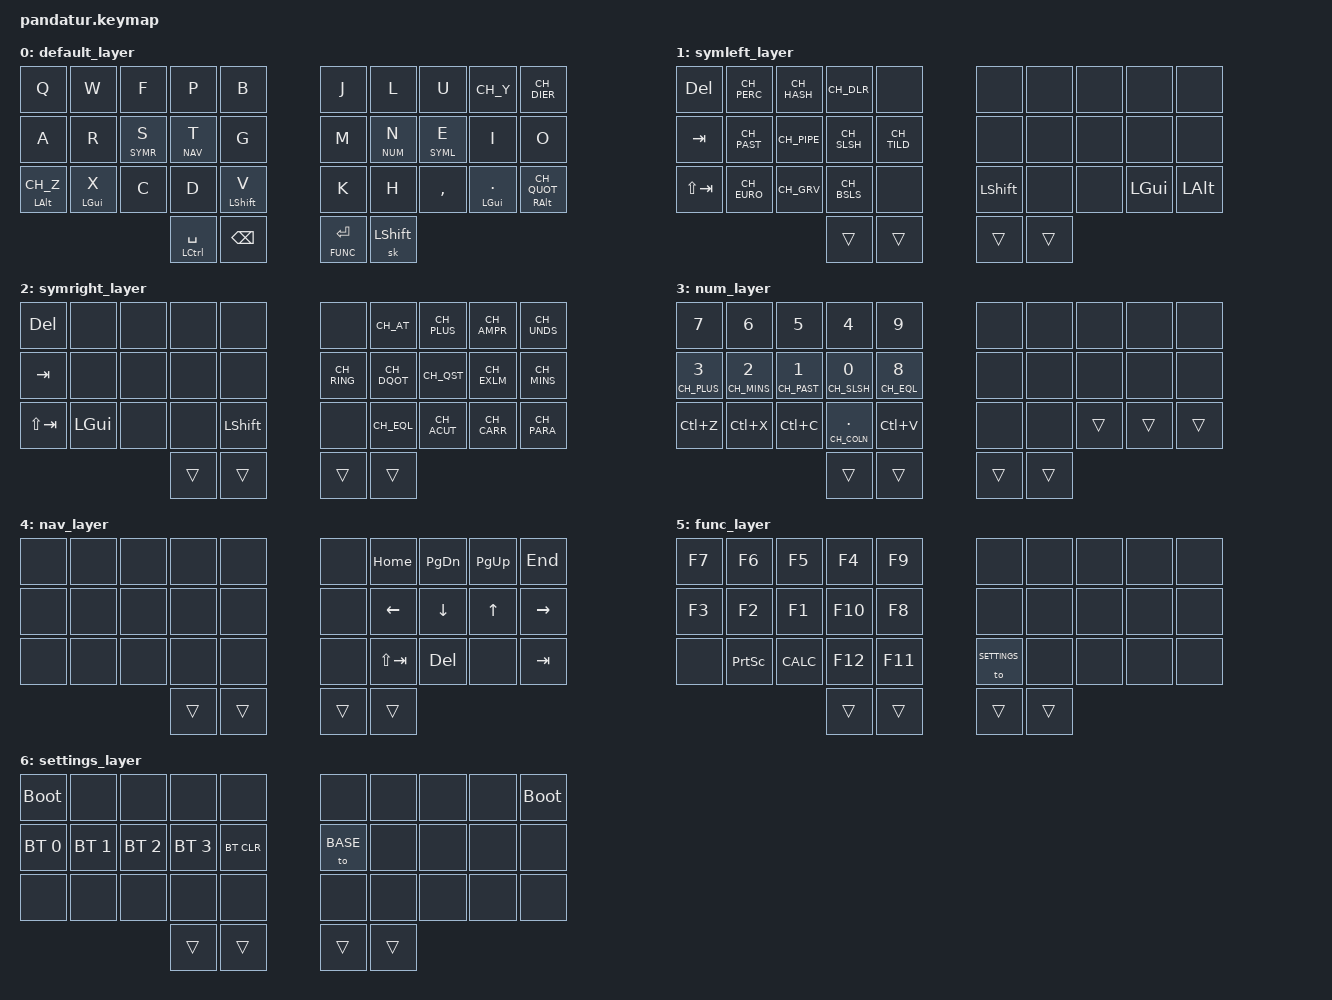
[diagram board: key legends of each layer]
/*
 * Copyright (c) 2020 The ZMK Contributors
 *
 * SPDX-License-Identifier: MIT
 */

#include <behaviors.dtsi>
#include <dt-bindings/zmk/keys.h>
#include <dt-bindings/zmk/bt.h>
// #include <dt-bindings/zmk/mouse.h>
#include "keymap_ch_de.h"

// Layer definitions
    #define BASE 0
    #define SYML 1
    #define SYMR 2
    #define NUM 3
	#define NAV 4
	// #define MOUSE 4
    #define FUNC 5
    #define SETTINGS 6
// -----------------

// Helper Aliases for formatting
#define ____ &trans
#define xxxx &none

&mt {
	flavor = "balanced";
	tapping_term_ms = <175>;
};

&lt {
	flavor = "balanced";
	tapping_term_ms = <175>;
};

&sk {
	release-after-ms = <500>;
	quick-release;
};

/ {
	combos {
		compatible = "zmk,combos";
		combo_esc {
			timeout-ms = <75>;
			key-positions = <0 10>;
			bindings = <&kp ESC>;
		};
		combo_lprn {
			timeout-ms = <50>;
			key-positions = <2 12>;
			bindings = <&kp CH_LPRN>;
		};
		combo_rprn {
			timeout-ms = <50>;
			key-positions = <7 17>;
			bindings = <&kp CH_RPRN>;
		};
		combo_lbrc {
			timeout-ms = <50>;
			key-positions = <3 13>;
			bindings = <&kp CH_LBRC>;
		};
		combo_rbrc {
			timeout-ms = <50>;
			key-positions = <6 16>;
			bindings = <&kp CH_RBRC>;
		};
		combo_lcbr {
			timeout-ms = <50>;
			key-positions = <1 11>;
			bindings = <&kp CH_LCBR>;
		};
		combo_rcbr {
			timeout-ms = <50>;
			key-positions = <8 18>;
			bindings = <&kp CH_RCBR>;
		};
		combo_more {
			timeout-ms = <75>;
			key-positions = <5 15>;
			bindings = <&kp CH_MORE>;
		};
		combo_less {
			timeout-ms = <75>;
			key-positions = <4 14>;
			bindings = <&kp CH_LESS>;
		};
		combo_scln {
			timeout-ms = <75>;
			key-positions = <17 27>;
			bindings = <&kp CH_SCLN>;
		};
		combo_dqot {
			timeout-ms = <75>;
			key-positions = <18 28>;
			bindings = <&kp CH_DQOT>;
		};
		combo_coln {
			timeout-ms = <75>;
			key-positions = <19 29>;
			bindings = <&kp CH_COLN>;
		};
		combo_qbspc {
			timeout-ms = <100>;
			key-positions = <30 31>;
			bindings = <&kp LC(BSPC)>;
		};
	};
	behaviors {	
		rp: right_hand_positional_hold_layer {
			compatible = "zmk,behavior-hold-tap";
			label = "RIGHT_POSITIONAL_HOLD_LAYER";
			#binding-cells = <2>;
			flavor = "balanced";
			tapping-term-ms = <150>;
			quick-tap-ms = <150>;
			bindings = <&mo>, <&kp>;
			hold-trigger-key-positions = <0 1 2 3 4 5 6 7 8 9 10 11 12 13 14 15 20 21 22 23 24 25 26 27 28 29>;
		};
		lp: left_hand_positional_hold_layer {
			compatible = "zmk,behavior-hold-tap";
			label = "LEFT_POSITIONAL_HOLD_LAYER";
			#binding-cells = <2>;
			flavor = "balanced";
			tapping-term-ms = <150>;
			quick-tap-ms = <150>;
			bindings = <&mo>, <&kp>;
			hold-trigger-key-positions = <0 1 2 3 4 5 6 7 8 9 14 15 16 17 18 19 20 21 22 23 24 25 26 27 28 29>;
		};
	};
    keymap {
            compatible = "zmk,keymap";

        // Base alpha layer
       		default_layer {
		bindings = <
		&kp Q          &kp W       &kp F       &kp P      &kp B              &kp J  &kp L      &kp U       &kp CH_Y      &kp CH_DIER 
		&kp A          &kp R       &lp SYMR S  &lp NAV T  &kp G              &kp M  &rp NUM N  &rp SYML E  &kp I         &kp O
		&mt LALT CH_Z  &mt LGUI X  &kp C       &kp D      &mt LSHFT V        &kp K  &kp H       &kp COMMA   &mt LGUI DOT  &mt RALT CH_QUOT
                                         &mt LCTRL SPACE  &kp BSPC           &lt FUNC ENTER  &sk LSHFT
		>;
		};

        // Left Symbol Layer
       		symleft_layer {
		bindings = <
		&kp DEL      &kp CH_PERC  &kp CH_HASH  &kp CH_DLR   xxxx           xxxx       xxxx  xxxx  xxxx       xxxx
		&kp TAB      &kp CH_PAST  &kp CH_PIPE  &kp CH_SLSH  &kp CH_TILD    xxxx       xxxx  xxxx  xxxx       xxxx
		&kp LS(TAB)  &kp CH_EURO  &kp CH_GRV   &kp CH_BSLS  xxxx           &kp LSHFT  xxxx  xxxx  &kp LGUI  &kp LALT
					                                  ____  ____           ____  ____
		>;
		};

        // Right Symbol Layer
		    symright_layer {
		bindings = <
		&kp DEL      xxxx      xxxx  xxxx  xxxx                xxxx  &kp CH_AT    &kp CH_PLUS  &kp CH_AMPR  &kp CH_UNDS
		&kp TAB      xxxx      xxxx  xxxx  xxxx         &kp CH_RING  &kp CH_DQOT  &kp CH_QST   &kp CH_EXLM  &kp CH_MINS
		&kp LS(TAB)  &kp LGUI  xxxx  xxxx  &kp LSHFT           xxxx  &kp CH_EQL   &kp CH_ACUT  &kp CH_CARR  &kp CH_PARA
		                             ____  ____                ____  ____
		>;
		};

        // Numbers (Left Hand)
       		num_layer {
		bindings = <
		&kp N7          &kp N6          &kp N5          &kp N4           &kp N9           xxxx  xxxx  xxxx  xxxx  xxxx
		&mt CH_PLUS N3  &mt CH_MINS N2  &mt CH_PAST N1  &mt CH_SLSH N0   &mt CH_EQL N8    xxxx  xxxx  xxxx  xxxx  xxxx
		&kp LC(Z)       &kp LC(X)       &kp LC(C)       &mt CH_COLN DOT  &kp LC(V)        xxxx  xxxx  ____  ____  ____
          				                                           ____  ____             ____  ____
		>;
		};
        // Navigation (Right Hand)
       		nav_layer {
		bindings = <
		xxxx  xxxx  xxxx  xxxx  xxxx    xxxx  &kp HOME     &kp PG_DN  &kp PG_UP  &kp END
		xxxx  xxxx  xxxx  xxxx  xxxx    xxxx  &kp LEFT     &kp DOWN   &kp UP     &kp RIGHT
		xxxx  xxxx  xxxx  xxxx  xxxx    xxxx  &kp LS(TAB)  &kp DEL    xxxx       &kp TAB
          	              ____  ____    ____  ____
		>;
		};
        // Mouse Layer
//     		mouse_layer {
//		bindings = <
//		xxxx     xxxx      xxxx     xxxx      xxxx        xxxx  &mwh SCROLL_LEFT  &mwh SCROLL_DOWN  &mwh SCROLL_UP  &mwh SCROLL_RIGHT
//		&mkp MB5 &mkp MB4  &mkp MB3 &mkp MB1  xxxx    &to BASE  &mmv MOVE_LEFT    &mmv MOVE_DOWN    &mmv MOVE_UP    &mmv MOVE_RIGHT
//		xxxx     xxxx      xxxx     &mkp MB2  xxxx        xxxx  xxxx              xxxx              xxxx            xxxx
//	                                    ____  ____        ____  ____
//		>;
//		};
        // Function Keys
       		func_layer {
		bindings = <
		&kp F7  &kp F6     &kp F5      &kp F4   &kp F9             xxxx  xxxx  xxxx  xxxx  xxxx
		&kp F3  &kp F2     &kp F1      &kp F10  &kp F8             xxxx  xxxx  xxxx  xxxx  xxxx
		xxxx    &kp PSCRN  &kp K_CALC  &kp F12  &kp F11    &to SETTINGS  xxxx  xxxx  xxxx  xxxx
                                          ____  ____               ____  ____
		>;
		};

        // Used to change the keyboard's settings.
       		settings_layer {
		bindings = <
		&bootloader   xxxx          xxxx          xxxx          xxxx              xxxx  xxxx  xxxx  xxxx  &bootloader 
		&bt BT_SEL 0  &bt BT_SEL 1  &bt BT_SEL 2  &bt BT_SEL 3  &bt BT_CLR    &to BASE  xxxx  xxxx  xxxx  xxxx
		xxxx          xxxx          xxxx          xxxx          xxxx              xxxx  xxxx  xxxx  xxxx  xxxx
          				                                  ____  ____              ____  ____
		>;
		};
        
	};
};
